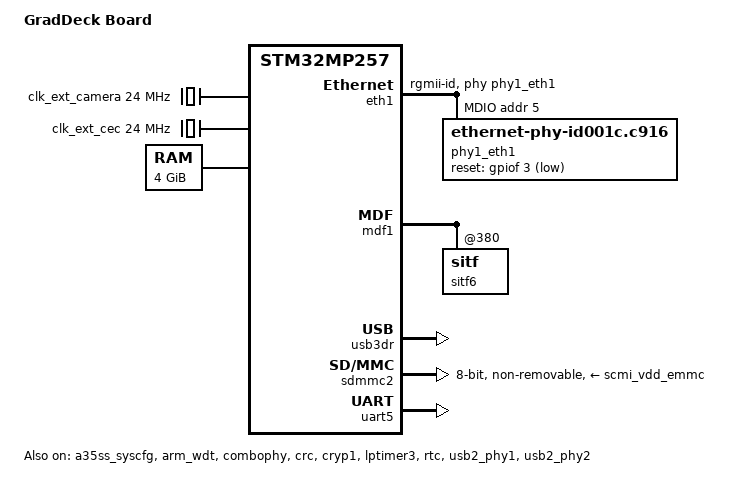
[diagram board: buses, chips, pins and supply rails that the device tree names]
// SPDX-License-Identifier: (GPL-2.0-or-later OR BSD-3-Clause)
/*
 * Copyright (C) STMicroelectronics 2023 - All Rights Reserved
 * Author: Alexandre Torgue <alexandre.torgue@foss.st.com> for STMicroelectronics.
 */

/dts-v1/;

#include <dt-bindings/gpio/gpio.h>
#include <dt-bindings/input/input.h>
#include <dt-bindings/leds/common.h>
#include <dt-bindings/rtc/rtc-stm32.h>
#include "stm32mp257.dtsi"
#include "stm32mp25xf.dtsi"
#include "stm32mp25-pinctrl.dtsi"
#include "stm32mp25xxak-pinctrl.dtsi"
#include "stm32mp257f-ev1-ca35tdcid-resmem.dtsi"

/ {
	model = "GradDeck Board";
	compatible = "GradDeck";

	aliases {
		serial0 = &uart5;
		ethernet0 = &eth1;
		mmc0 = &sdmmc2;
	};

	chosen {
		stdout-path = "serial0:115200n8";
		#address-cells = <2>;
		#size-cells = <2>;
		ranges;

		framebuffer {
			compatible = "simple-framebuffer";
			clocks = <&rcc CK_BUS_LTDC>, <&rcc CK_KER_LTDC>,
				 <&rcc CK_BUS_LVDS>, <&rcc CK_KER_LVDSPHY>;
			status = "disabled";
		};
	};

	clocks {
		clk_ext_camera: clk-ext-camera {
			#clock-cells = <0>;
			compatible = "fixed-clock";
			clock-frequency = <24000000>;
		};

		clk_ext_cec: clk-ext-cec {
			#clock-cells = <0>;
			compatible = "fixed-clock";
			clock-frequency = <24000000>;
		};
	};

	

	
	
	memory@80000000 {
		device_type = "memory";
		reg = <0x0 0x80000000 0x00000001 0x00000000>;
	};

	
};


&a35ss_syscfg {
	status = "okay";
};

&arm_wdt {
	timeout-sec = <32>;
	status = "okay";
};

&combophy {
	st,ssc-on;
	status = "okay";
};

&crc {
	status = "okay";
};

&cryp1 {
	status = "okay";
};




&eth1 {
	status = "okay";
	pinctrl-0 = <&eth1_mdio_pins_mx>, <&eth1_rgmii_pins_mx>;
	pinctrl-1 = <&eth1_mdio_sleep_pins_mx>, <&eth1_rgmii_sleep_pins_mx>;
	pinctrl-names = "default", "sleep";
	phy-mode = "rgmii-id";
	max-speed = <1000>;
	phy-handle = <&phy1_eth1>;
	st,ext-phyclk;

	mdio1 {
		#address-cells = <1>;
		#size-cells = <0>;
		compatible = "snps,dwmac-mdio";
		phy1_eth1: ethernet-phy@5 {
			compatible = "ethernet-phy-id001c.c916";
			reset-gpios =  <&gpiof 3 GPIO_ACTIVE_LOW>;
			reset-assert-us = <10000>;
			reset-deassert-us = <80000>;
			realtek,eee-disable;
			reg = <5>;
		};
	};
};



&ipcc1 {
	status = "okay";
};

&ipcc2 {
	status = "okay";
};

/* use LPTIMER with tick broadcast for suspend mode */
&lptimer3 {
	clocks = <&rcc CK_LPTIM3_AM>;
	status = "okay";
	timer {
		status = "okay";
	};
};


&mdf1 {
	pinctrl-names = "default", "sleep";
	pinctrl-0 = <&mdf_cck0_pins_a>;
	pinctrl-1 = <&mdf_cck0_sleep_pins_a>;
	#clock-cells = <1>;
	clock-output-names = "cck0";
	clock-frequency = <1536000>;
	status = "okay";

	sitf6: sitf@380 {
		pinctrl-names = "default", "sleep";
		pinctrl-0 = <&mdf_sdi6_pins_a>;
		pinctrl-1 = <&mdf_sdi6_sleep_pins_a>;
		st,sitf-mode = "spi";
		clocks = <&mdf1 0>;
		status = "okay";
	};

};


&rtc {
	st,lsco = <RTC_OUT2_RMP>;
	
	pinctrl-0 = <&rtc_out2_rmp_pins_a>;
	pinctrl-names = "default";
	status = "okay";
};
&scmi_regu {
	scmi_vddio1: regulator@0 {
		regulator-min-microvolt = <1800000>;
		regulator-max-microvolt = <3300000>;
	};
	scmi_vddcore: regulator@b {
		reg = <VOLTD_SCMI_STPMIC2_BUCK2>;
		regulator-name = "vddcore";
	};
	scmi_v1v8: regulator@e {
		reg = <VOLTD_SCMI_STPMIC2_BUCK5>;
		regulator-name = "v1v8";
	};
	scmi_v3v3: regulator@10 {
		reg = <VOLTD_SCMI_STPMIC2_BUCK7>;
		regulator-name = "v3v3";
	};
	scmi_vdd_emmc: regulator@12 {
		reg = <VOLTD_SCMI_STPMIC2_LDO2>;
		regulator-name = "vdd_emmc";
	};
	scmi_vdd3v3_usb: regulator@14 {
		reg = <VOLTD_SCMI_STPMIC2_LDO4>;
		regulator-name = "vdd3v3_usb";
	};
	scmi_vdd_sdcard: regulator@17 {
		reg = <VOLTD_SCMI_STPMIC2_LDO7>;
		regulator-name = "vdd_sdcard";
	};
};

&usb2_phy1 {
	vdd33-supply = <&scmi_vdd3v3_usb>;
	status = "okay";
};

&usb2_phy2 {
	vdd33-supply = <&scmi_vdd3v3_usb>;
	status = "okay";
};

&usb3dr {
	status = "okay";

	dwc3: usb@48300000 {
		maximum-speed = "high-speed";
		usb-role-switch;
		port {
			dwc3_ep: endpoint {
				remote-endpoint = <&typec_ep>;
			};
		};
	};
};

&sdmmc2 {
	pinctrl-names = "default", "opendrain", "sleep";
	pinctrl-0 = <&sdmmc2_pins_mx>;
	pinctrl-1 = <&sdmmc2_opendrain_pins_mx>;
	pinctrl-2 = <&sdmmc2_sleep_pins_mx>;
	non-removable;
	no-sd;
	no-sdio;
	st,neg-edge;
	bus-width = <8>;
	vmmc-supply = <&scmi_vdd_emmc>;
	vqmmc-supply = <&scmi_v1v8>;
	mmc-ddr-1_8v;
	mmc-hs200-1_8v;
	status = "okay";

	/* USER CODE BEGIN sdmmc2 */
	/* USER CODE END sdmmc2 */
};


/* Wifi */




&uart5 {
	pinctrl-names = "default", "idle", "sleep";
	pinctrl-0 = <&uart5_pins_mx>;
	pinctrl-1 = <&uart5_idle_pins_mx>;
	pinctrl-2 = <&uart5_sleep_pins_mx>;
	status = "okay";

	/* USER CODE BEGIN uart5 */
	/* USER CODE END uart5 */
};


&usb2_phy1 {
	vdd33-supply = <&scmi_vdd3v3_usb>;
	status = "okay";
};

&usb2_phy2 {
	vdd33-supply = <&scmi_vdd3v3_usb>;
	status = "okay";
};


